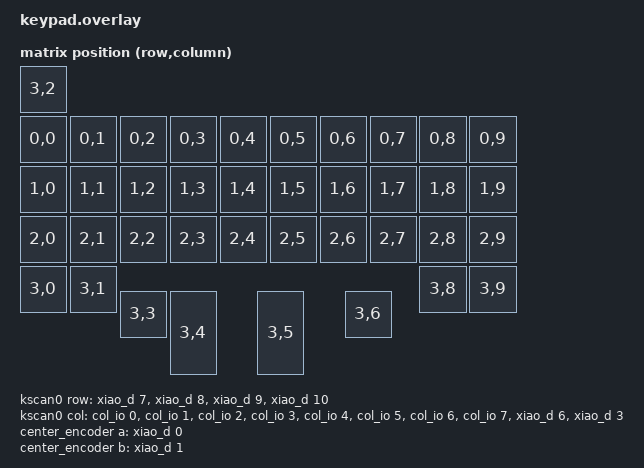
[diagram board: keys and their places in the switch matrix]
#include <physical_layouts.dtsi>
#include <dt-bindings/zmk/matrix_transform.h>
#include <dt-bindings/gpio/gpio.h>
#include <dt-bindings/i2c/i2c.h>
#include <zephyr/dt-bindings/input/input-event-codes.h>

/ {
    chosen {
        zmk,physical-layout = &layout;
        zmk,kscan = &kscan0;
        zmk,matrix-transform = &default_transform;
    };

    kscan0: kscan {
        compatible = "zmk,kscan-gpio-matrix";
        diode-direction = "col2row";
        
        col-gpios
            = <&col_io 0 GPIO_ACTIVE_HIGH>
            , <&col_io 1 GPIO_ACTIVE_HIGH>
            , <&col_io 2 GPIO_ACTIVE_HIGH>
            , <&col_io 3 GPIO_ACTIVE_HIGH>
            , <&col_io 4 GPIO_ACTIVE_HIGH>
            , <&col_io 5 GPIO_ACTIVE_HIGH>
            , <&col_io 6 GPIO_ACTIVE_HIGH>
            , <&col_io 7 GPIO_ACTIVE_HIGH>
            , <&xiao_d 6 GPIO_ACTIVE_HIGH>
            , <&xiao_d 3 GPIO_ACTIVE_HIGH>
            ;
            
        row-gpios
            = <&xiao_d 7 (GPIO_ACTIVE_HIGH | GPIO_PULL_DOWN)>
            , <&xiao_d 8 (GPIO_ACTIVE_HIGH | GPIO_PULL_DOWN)>
            , <&xiao_d 9 (GPIO_ACTIVE_HIGH | GPIO_PULL_DOWN)>
            , <&xiao_d 10 (GPIO_ACTIVE_HIGH | GPIO_PULL_DOWN)>
            ;
    };

    default_transform: keymap_transform_0 {
        compatible = "zmk,matrix-transform";
        rows = <4>;
        columns = <10>;
        // ИСПРАВЛЕНО: Убраны точки с запятой внутри массива
        map = <
        RC(3,2)
        RC(0,0) RC(0,1) RC(0,2) RC(0,3) RC(0,4)   RC(0,5) RC(0,6) RC(0,7) RC(0,8) RC(0,9)
        RC(1,0) RC(1,1) RC(1,2) RC(1,3) RC(1,4)   RC(1,5) RC(1,6) RC(1,7) RC(1,8) RC(1,9)
        RC(2,0) RC(2,1) RC(2,2) RC(2,3) RC(2,4)   RC(2,5) RC(2,6) RC(2,7) RC(2,8) RC(2,9)
        RC(3,0) RC(3,1)         RC(3,3) RC(3,4)   RC(3,5) RC(3,6)         RC(3,8) RC(3,9)
        >;
    };

    layout: layout {
        compatible = "zmk,physical-layout";
        display-name = "Keypad Layout";
        transform = <&default_transform>;
        kscan = <&kscan0>;
        // studio_selectable; // Закомментировано, так как Studio отключена в .conf
        
        keys
            = <&key_physical_attrs 100 100 0   0   0   0   0> //encoder button
            , <&key_physical_attrs 100 100 0   100 0   0   0> //1
            , <&key_physical_attrs 100 100 100 100 0   0   0> //2
            , <&key_physical_attrs 100 100 200 100 0   0   0> //3
            , <&key_physical_attrs 100 100 300 100 0   0   0> //4
            , <&key_physical_attrs 100 100 400 100 0   0   0> //5
            , <&key_physical_attrs 100 100 500 100 0   0   0> //6
            , <&key_physical_attrs 100 100 600 100 0   0   0> //7
            , <&key_physical_attrs 100 100 700 100 0   0   0> //8
            , <&key_physical_attrs 100 100 800 100 0   0   0> //9
            , <&key_physical_attrs 100 100 900 100 0   0   0> //10
            //
            , <&key_physical_attrs 100 100 0   200 0   0   0> 
            , <&key_physical_attrs 100 100 100 200 0   0   0>
            , <&key_physical_attrs 100 100 200 200 0   0   0>
            , <&key_physical_attrs 100 100 300 200 0   0   0>
            , <&key_physical_attrs 100 100 400 200 0   0   0>
            , <&key_physical_attrs 100 100 500 200 0   0   0>
            , <&key_physical_attrs 100 100 600 200 0   0   0>
            , <&key_physical_attrs 100 100 700 200 0   0   0>
            , <&key_physical_attrs 100 100 800 200 0   0   0>
            , <&key_physical_attrs 100 100 900 200 0   0   0>
            //
            , <&key_physical_attrs 100 100 0   300 0   0   0>
            , <&key_physical_attrs 100 100 100 300 0   0   0>
            , <&key_physical_attrs 100 100 200 300 0   0   0>
            , <&key_physical_attrs 100 100 300 300 0   0   0>
            , <&key_physical_attrs 100 100 400 300 0   0   0>
            , <&key_physical_attrs 100 100 500 300 0   0   0>
            , <&key_physical_attrs 100 100 600 300 0   0   0>
            , <&key_physical_attrs 100 100 700 300 0   0   0>
            , <&key_physical_attrs 100 100 800 300 0   0   0>
            , <&key_physical_attrs 100 100 900 300 0   0   0>
            //
            , <&key_physical_attrs 100 100 0   400 0   0   0> //1
            , <&key_physical_attrs 100 100 100 400 0   0   0> //2
            , <&key_physical_attrs 100 100 200 450 0   0   0> //_1
            , <&key_physical_attrs 100 175 300 450 0   0   0> //_1.75
            , <&key_physical_attrs 100 175 475 450 0   0   0> //_1.75
            , <&key_physical_attrs 100 100 650 450 0   0   0> //_1
            , <&key_physical_attrs 100 100 800 400 0   0   0> //1
            , <&key_physical_attrs 100 100 900 400 0   0   0> //2
            ;
    };

    center_encoder: encoder_center {
        compatible = "alps,ec11";
        a-gpios = <&xiao_d 0 (GPIO_ACTIVE_HIGH | GPIO_PULL_UP)>;
        b-gpios = <&xiao_d 1 (GPIO_ACTIVE_HIGH | GPIO_PULL_UP)>;
        resolution = <2>;
        status = "okay";
    };

    sensors: sensors {
        compatible = "zmk,keymap-sensors";
        status = "okay";
        sensors = <&center_encoder>;
    };
};

&xiao_i2c {
    status = "okay";
    clock-frequency = <I2C_BITRATE_FAST>;
    
    oled: ssd1306@3c {
        compatible = "solomon,ssd1306fb";
        reg = <0x3c>;
        width = <128>;
        height = <32>;
        segment-offset = <0>;
        page-offset = <0>;
        display-offset = <0>;
        multiplex-ratio = <31>;
        segment-remap;
        com-invdir;
        com-sequential;
        prechargep = <0x22>;
        inversion-on;
    };
    
    col_io: pca95xx@20 {
        compatible = "nxp,pca95xx";
        status = "okay";
        gpio-controller;
        reg = <0x20>;
        #gpio-cells = <2>;
        ngpios = <16>;
    };
};
